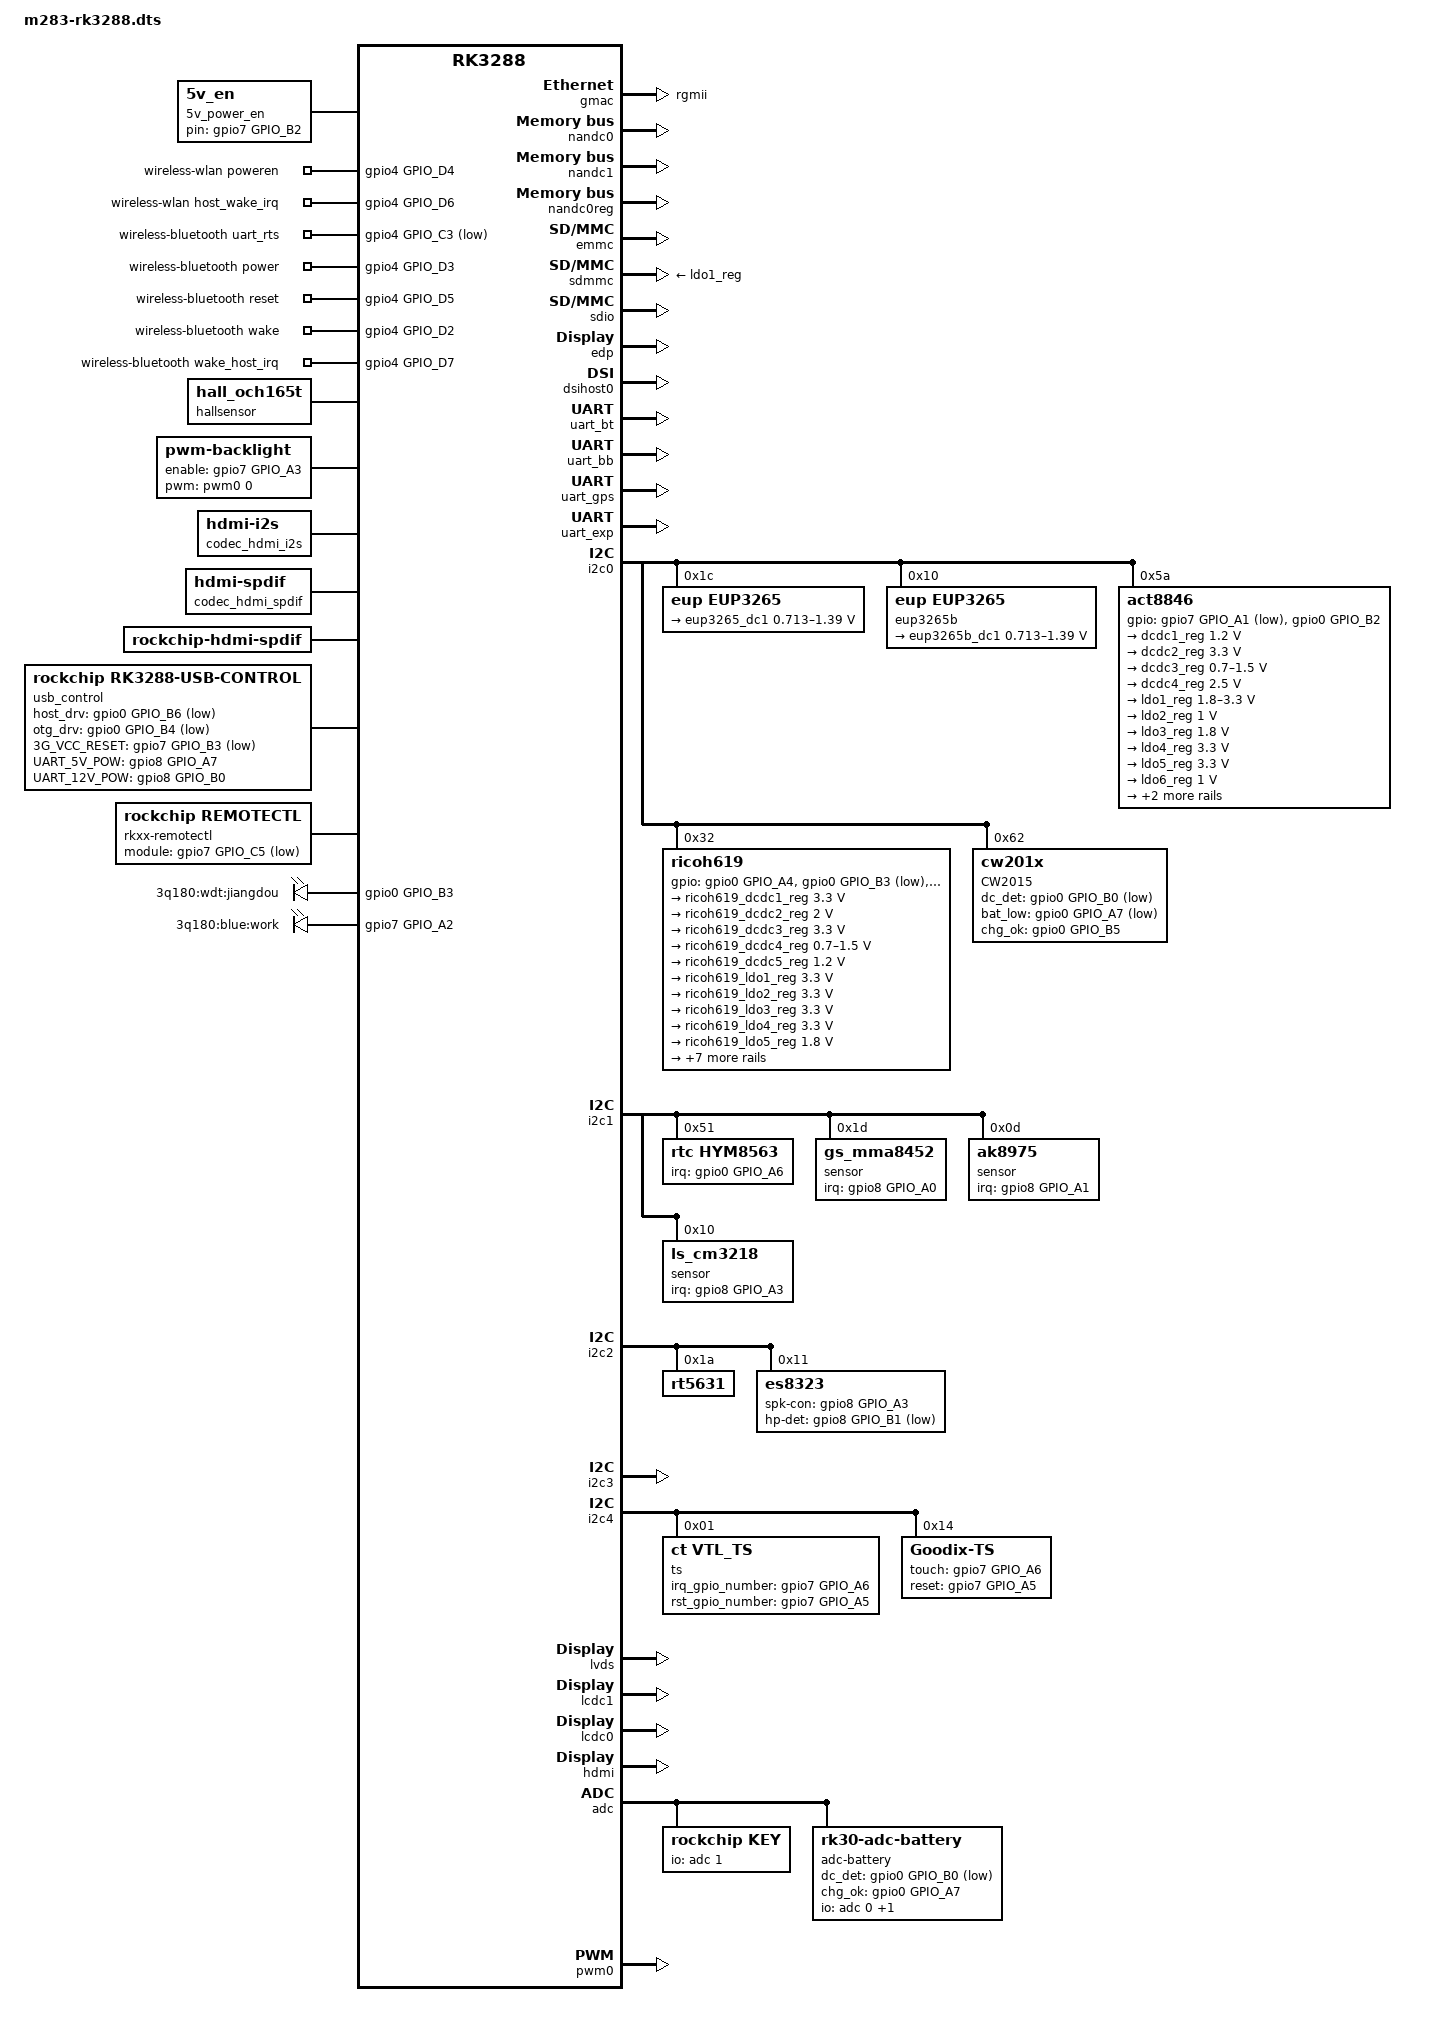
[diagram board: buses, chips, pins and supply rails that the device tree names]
/dts-v1/;

#include "rk3288.dtsi"
#include "lcd-M101WX24M_LVDS.dtsi"

/ {
	fiq-debugger {
		status = "okay";
	};

	5v_power_en {
        compatible = "5v_en";
		5ven,pin =<&gpio7 GPIO_B2 GPIO_ACTIVE_HIGH>;	// 5v power for otg and hdmi
		status = "okay";	
	};


    wireless-wlan {
        compatible = "wlan-platdata";

        /* wifi_chip_type - wifi chip define
         * bcmwifi ==> like ap6xxx, rk90x;
         * rtkwifi ==> like rtl8188xx, rtl8723xx;
         * esp8089 ==> esp8089;
         * other   ==> for other wifi;
         */
        wifi_chip_type = "bcmwifi";

        sdio_vref = <1800>; //1800mv or 3300mv

        //keep_wifi_power_on;

        //power_ctrl_by_pmu;
        power_pmu_regulator = "act_ldo3";
        power_pmu_enable_level = <1>; //1->HIGH, 0->LOW

        //vref_ctrl_enable;
        //vref_ctrl_gpio = <&gpio0 GPIO_A2 GPIO_ACTIVE_HIGH>;
        vref_pmu_regulator = "act_ldo3";
        vref_pmu_enable_level = <1>; //1->HIGH, 0->LOW

        WIFI,poweren_gpio = <&gpio4 GPIO_D4 GPIO_ACTIVE_HIGH>;
        WIFI,host_wake_irq = <&gpio4 GPIO_D6 GPIO_ACTIVE_HIGH>;
        //WIFI,reset_gpio = <&gpio0 GPIO_A2 GPIO_ACTIVE_LOW>;

        status = "okay";
    };

    wireless-bluetooth {
        compatible = "bluetooth-platdata";

        //wifi-bt-power-toggle;
        uart_rts_gpios = <&gpio4 GPIO_C3 GPIO_ACTIVE_LOW>;
        pinctrl-names = "default","rts_gpio";
        pinctrl-0 = <&uart0_rts>;
        pinctrl-1 = <&uart0_rts_gpio>;

        BT,power_gpio = <&gpio4 GPIO_D3 GPIO_ACTIVE_HIGH>;
        BT,reset_gpio = <&gpio4 GPIO_D5 GPIO_ACTIVE_HIGH>;
        BT,wake_gpio = <&gpio4 GPIO_D2 GPIO_ACTIVE_HIGH>;
        BT,wake_host_irq = <&gpio4 GPIO_D7 GPIO_ACTIVE_HIGH>;

        status = "okay";
    };

    hallsensor {
               compatible = "hall_och165t";
               type = <SENSOR_TYPE_HALL>;
               //irq-gpio = <&gpio0 GPIO_A6 IRQ_TYPE_EDGE_BOTH>;
     };

	backlight {
		compatible = "pwm-backlight";
		pwms = <&pwm0 0 25000>;
		brightness-levels = <255 254 253 252 251 250 249 248 247 246 245 244 243 242 241 240
		     239 238 237 236 235 234 233 232 231 230 229 228 227 226 225 224 223 222 221 220
		     219 218 217 216 215 214 213 212 211 210 209 208 207 206 205 204 203 202 201 200
		     199 198 197 196 195 194 193 192 191 190 189 188 187 186 185 184 183 182 181 180
		     179 178 177 176 175 174 173 172 171 170 169 168 167 166 165 164 163 162 161 160
		     159 158 157 156 155 154 153 152 151 150 149 148 147 146 145 144 143 142 141 140
		     139 138 137 136 135 134 133 132 131 130 129 128 127 126 125 124 123 122 121 120
		     119 118 117 116 115 114 113 112 111 110 109 108 107 106 105 104 103 102 101 100
		     99 98 97 96 95 94 93 92 91 90 89 88 87 86 85 84 83 82 81 80 79 78 77 76 75 74 73 72 71 70
		     69 68 67 66 65 64 63 62 61 60 59 58 57 56 55 54 53 52 51 50 49 48 47 46 45 44 43 42 41 40
		     39 38 37 36 35 34 33 32 31 30 29 28 27 26 25 24 23 22 21 20 19 18 17 16 15 14 13 12 11 10
		     9 8 7 6 5 4 3 2 1 0>;
		default-brightness-level = <100>;
		min-brightness-level = <90>;
		enable-gpios = <&gpio7 GPIO_A3 GPIO_ACTIVE_HIGH>;
		//enable-gpios = <&gpio1 GPIO_D2 GPIO_ACTIVE_HIGH>; //by jiangdou  for  PANELPOW LCD_VCC
	};

	pwm_regulator {
		compatible = "rockchip_pwm_regulator";
		status = "disabled";
		pwms = <&pwm1 0 25000>;
		rockchip,pwm_id= <1>;
		rockchip,pwm_voltage_map= <925000 950000 975000 1000000 1025000 1050000 1075000 1100000 1125000 1150000 1175000 1200000 1225000 1250000 1275000 1300000 1325000 1350000 1375000 1400000>;
		rockchip,pwm_voltage= <1000000>;
		rockchip,pwm_min_voltage= <925000>;
		rockchip,pwm_max_voltage= <1400000>;
		rockchip,pwm_suspend_voltage= <950000>;
		rockchip,pwm_coefficient= <475>;
		regulators {
			#address-cells = <1>;
			#size-cells = <0>;
			pwm_reg0: regulator@0 {
				regulator-compatible = "pwm_dcdc1";
				regulator-name= "vdd_logic";
				regulator-min-microvolt = <925000>;
				regulator-max-microvolt = <1400000>;
				regulator-always-on;
				regulator-boot-on;
			};
		};
	};

	codec_hdmi_i2s: codec-hdmi-i2s {
		compatible = "hdmi-i2s";
	};

	codec_hdmi_spdif: codec-hdmi-spdif {
		compatible = "hdmi-spdif";
	};

	rockchip-hdmi-i2s {
		compatible = "rockchip-hdmi-i2s";
		dais {
			dai0 {
				audio-codec = <&codec_hdmi_i2s>;
				audio-controller = <&i2s>;
				format = "i2s";
				//continuous-clock;
				//bitclock-inversion;
				//frame-inversion;
				//bitclock-master;
				//frame-master;
			};
		};
	};
	
	rockchip-hdmi-spdif {
		compatible = "rockchip-hdmi-spdif";
		dais {
			dai0 {
				audio-codec = <&codec_hdmi_spdif>;
				audio-controller = <&spdif>;
			};
		};		
	};

	rockchip-rt5631 {
		status = "disabled";
		compatible = "rockchip-rt5631";
		dais {
			dai0 {
				audio-codec = <&rt5631>;
				audio-controller = <&i2s>;
				format = "i2s";
				//continuous-clock;
				//bitclock-inversion;
				//frame-inversion;
				//bitclock-master;
				//frame-master;
			};
		};
	};
	rockchip-es8323 {
		compatible = "rockchip-es8323";
		dais {
			dai0 {
				audio-codec = <&es8323>;
				audio-controller = <&i2s>;
				format = "i2s";
				//continuous-clock;
				//bitclock-inversion;
				//frame-inversion;
				//bitclock-master;
				//frame-master;
			};
		};
	};

	usb_control {
		compatible = "rockchip,rk3288-usb-control";
		host_drv_gpio = <&gpio0 GPIO_B6 GPIO_ACTIVE_LOW>;
		otg_drv_gpio = <&gpio0 GPIO_B4 GPIO_ACTIVE_LOW>;
//ZUOMG 		3G_VCC_33_POWER = <&gpio8 GPIO_A3 GPIO_ACTIVE_HIGH>;//modify by jiangdou for 3G_POWER
		3G_VCC_RESET = <&gpio7 GPIO_B3 GPIO_ACTIVE_LOW>;//SDMMC_PWR
//		RS232_ICVCC_POWER = <&gpio0 GPIO_B5 GPIO_ACTIVE_HIGH>;//modify by jiangdou for RS232_ICVCC
		UART_5V_POW = <&gpio8 GPIO_A7 GPIO_ACTIVE_HIGH>;// UART_5V_POW
		UART_12V_POW = <&gpio8 GPIO_B0 GPIO_ACTIVE_HIGH>;//TP_5V_ON

		rockchip,remote_wakeup;
		rockchip,usb_irq_wakeup;
	};
	chosen {
                bootargs = "vmalloc=512M";
        };
	//add by jiangdou
	rkxx-remotectl{
		compatible = "rockchip,remotectl";
        //module-gpios = <&gpio7 GPIO_A0 GPIO_ACTIVE_LOW>;
		module-gpios = <&gpio7 GPIO_C5 GPIO_ACTIVE_LOW>;//modify for IR_INT  NO PWM  for GPIO!!!!
        //led-power = <&gpio8 GPIO_A1 GPIO_ACTIVE_LOW>;
	//ZUOMG	led-power = <&gpio8 GPIO_A1 GPIO_ACTIVE_LOW>;
		status = "okay";//nnd  this okay  by jiangdou!!!!!!!!!!!!!!!!
	};
	/*eint-gpio{
		compatible = "rk32_dou,io_eint"; 
		eint_gpio_1 = <&gpio7 GPIO_B6 GPIO_ACTIVE_LOW>;	//modify for I_INT   for GPIO!!!!238SPI1_DI
		eint_gpio_2 = <&gpio7 GPIO_B7 GPIO_ACTIVE_LOW>;//modify for I_INT   for GPIO!!!!239SPI1_DO
		user_gpio_1 = <&gpio7 GPIO_B5 GPIO_ACTIVE_LOW>;//modify for I_INT   for GPIO!!!!237SPI1_CSN
		user_gpio_2 = <&gpio7 GPIO_B4 GPIO_ACTIVE_LOW>;//modify for I_INT   for GPIO!!!!236SPI1_CLK
	
	};*/
	
	/*ledlight{//led light control
		compatible = "3qvideo,ledlight"; 
		label = "ledlight";
		ledgpio = <&gpio5 GPIO_B2 GPIO_ACTIVE_LOW>;	//modify for I_INT   for GPIO!!!!238SPI1_DI
	
	
	};*/
	
	leds {  //add for m180 leds  by jiangdou  20150812!!!
       compatible = "gpio-leds";
        rk3288wdt{
           label = "3q180:wdt:jiangdou";
           linux,default-trigger = "rk3288wdt";
           default-state = "off";
           gpios = <&gpio0 GPIO_B3 GPIO_ACTIVE_HIGH>; //add for RK3288_WDT
        }; 
		heartbeat{
           label = "3q180:blue:work";
           linux,default-trigger = "heartbeat";
           default-state = "off";
           gpios = <&gpio7 GPIO_A2 GPIO_ACTIVE_HIGH>;  //add for WORK_LED
       }; 
   }; 
};

&gmac {
//	power_ctl_by = "gpio";	//"gpio" "pmu"
//	power-gpio = <&gpio0 GPIO_B2 GPIO_ACTIVE_HIGH>;
//	power-pmu = "act_ldo"
//	reset-gpio = <&gpio4 GPIO_B0 GPIO_ACTIVE_LOW>;
	phy-mode = "rgmii";
	clock_in_out = "input";
	tx_delay = <0x30>;
	rx_delay = <0x10>;
	status = "okay";  //if want to use gmac, please set "okay"
};

&pinctrl {
	gpio0_gpio {
			gpio0_c2: gpio0-c2 {
				rockchip,pins = <GPIO0_C2>;
				rockchip,pull = <VALUE_PULL_DOWN>;
			};

			//to add
		};
		
	gpio7_gpio {
			gpio7_b7: gpio7-b7 {
				rockchip,pins = <GPIO7_B7>;
				rockchip,pull = <VALUE_PULL_UP>;
			};

			//to add
		};
	//could add other pinctrl definition such as gpio
	// gmac drive strength
	gpio4_gmac {
		mac_clk: mac-clk {
			rockchip,drive = <VALUE_DRV_12MA>;
		};

		mac_txpins: mac-txpins {
			rockchip,drive = <VALUE_DRV_12MA>;
		};

		mac_rxpins: mac-rxpins {
			rockchip,drive = <VALUE_DRV_12MA>;
		};

		mac_crs: mac-crs {
			rockchip,drive = <VALUE_DRV_12MA>;
		};

		mac_mdpins: mac-mdpins {
			rockchip,drive = <VALUE_DRV_12MA>;
		};
	};
};

&nandc0 {
	status = "okay"; // used nand set "disabled" ,used emmc set "okay"
};
&nandc1 {
	status = "okay"; // used nand set "disabled" ,used emmc set "okay"
};   

&nandc0reg {
	status = "okay"; // used nand set "disabled" ,used emmc set "okay"
};
&emmc {
	clock-frequency = <100000000>;
	clock-freq-min-max = <400000 100000000>;

        supports-highspeed;
	supports-emmc;
	//supports-sd;
        bootpart-no-access;
	
	supports-DDR_MODE; //you should set the two value in your project. only close in RK3288-SDK board.
	caps2-mmc-hs200;

        ignore-pm-notify;
	keep-power-in-suspend;
	
	//poll-hw-reset 
    	status = "okay";
};
    
&sdmmc {
	clock-frequency = <50000000>;
	clock-freq-min-max = <400000 50000000>;	            
	    
	supports-highspeed;
	supports-sd;
	broken-cd;
	card-detect-delay = <500>;

	ignore-pm-notify;
        keep-power-in-suspend;
	
        vmmc-supply = <&ldo1_reg>;
	status = "okay";
};
		
&sdio {
	clock-frequency = <50000000>;
        clock-freq-min-max = <200000 50000000>;
		
  	supports-highspeed;		
	supports-sdio;
		ignore-pm-notify;
		keep-power-in-suspend;
		//cap-sdio-irq;
		status = "okay";
};
&edp{
        status = "okay";
};

&dsihost0{
		status = "okay";
	};

&dsihost1{
		status = "disabled";
	};
	
&spi0 {
	status = "disabled";
	max-freq = <48000000>;	
	/*
	spi_test@00 {
     		compatible = "rockchip,spi_test_bus0_cs0";
                reg = <0>;
                spi-max-frequency = <24000000>;
                //spi-cpha;
		//spi-cpol;
                poll_mode = <0>;
	        type = <0>;
		enable_dma = <0>;

	};

	spi_test@01 {
	        compatible = "rockchip,spi_test_bus0_cs1";
	        reg = <1>;
	        spi-max-frequency = <24000000>;
	        spi-cpha;
		spi-cpol;
	        poll_mode = <0>;
	        type = <0>;
		enable_dma = <0>;	        
	};
	*/
};

&spi1 {
	status = "disabled";
	max-freq = <48000000>;
	/*
	spi_test@10 {
	        compatible = "rockchip,spi_test_bus1_cs0";
	        reg = <0>;
	        spi-max-frequency = <24000000>;
	        //spi-cpha;
		//spi-cpol;
	        poll_mode = <0>;
	        type = <0>;
		enable_dma = <0>;
	};

	*/
};

&spi2 {
	status = "disabled";
	max-freq = <48000000>;
	/*
	spi_test@20 {
	        compatible = "rockchip,spi_test_bus2_cs0";
	        reg = <0>;
	        spi-max-frequency = <24000000>;
	        //spi-cpha;
		//spi-cpol;
	        poll_mode = <0>;
	        type = <0>;
		enable_dma = <0>;
	};

	spi_test@21 {
	        compatible = "rockchip,spi_test_bus2_cs1";
	        reg = <1>;
	        spi-max-frequency = <24000000>;
	        //spi-cpha;
		//spi-cpol;
	        poll_mode = <0>;
	        type = <0>;
		enable_dma = <0>;
	};
	*/
};
&uart_bt {
        status = "okay";
        dma-names = "!tx", "!rx";
        pinctrl-0 = <&uart0_xfer &uart0_cts>;
};

&uart_bb { //UART1
        status = "okay";
        dma-names = "!tx", "!rx";
        pinctrl-0 = <&uart1_xfer &uart1_cts>;
};

&uart_gps { //UART3  for  MCU 
        status = "okay";
        dma-names = "!tx", "!rx";
        pinctrl-0 = <&uart3_xfer &uart3_cts>;
};

&uart_exp { //UART4
        status = "okay";
        dma-names = "!tx", "!rx";
        pinctrl-0 = <&uart4_xfer &uart4_cts>;
};

&i2c0 {
	status = "okay";
	rk808: rk808@1b {
		reg = <0x1b>;
		status = "disabled";
	};
		eup3265: eup3265@1c {
		compatible = "eup,eup3265";
  	reg = <0x1c>;
		status = "okay";
		regulators {
			#address-cells = <1>;
			#size-cells = <0>;	
            eup3265_dc1: regulator@0 {
			reg = <0>;
			regulator-compatible = "eup3265_dcdc1";
			regulator-name = "vdd_arm";
			regulator-min-microvolt = <712500>;
			regulator-max-microvolt = <1390000>;
			regulator-always-on;
			regulator-boot-on;
			regulator-initial-mode = <0x2>;
			regulator-initial-state = <3>;
			regulator-state-mem {
				regulator-state-mode = <0x2>;
				regulator-state-disabled;
				regulator-state-uv = <900000>;
			};
		};
	   };
	};
        eup3265b: eup3265b@10 {
		compatible = "eup,eup3265";
        reg = <0x10>;
		status = "okay";
		regulators {
			#address-cells = <1>;
			#size-cells = <0>;	
			eup3265b_dc1: regulator@0 {
			reg = <0>;
			regulator-compatible = "eup3265_dcdc1";
			regulator-name = "vdd_gpu";
			regulator-min-microvolt = <712500>;
			regulator-max-microvolt = <1390000>;
			regulator-always-on;
  		regulator-boot-on;
			regulator-initial-mode = <0x2>;
			regulator-initial-state = <3>;
			regulator-state-mem {
				regulator-state-mode = <0x2>;
				regulator-state-enabled;
				regulator-state-uv = <900000>;
			};	
		};
	   };
	};
	act8846: act8846@5a {
		reg = <0x5a>;
		status = "okay";
	};

	ricoh619: ricoh619@32 {
		reg = <0x32>;
 		status = "okay";
 	};
	


	CW2015@62 {
		compatible = "cw201x";
		reg = <0x62>;
		dc_det_gpio = <&gpio0 GPIO_B0 GPIO_ACTIVE_LOW>;
		bat_low_gpio = <&gpio0 GPIO_A7 GPIO_ACTIVE_LOW>;
		chg_ok_gpio = <&gpio0 GPIO_B5 GPIO_ACTIVE_HIGH>;
		bat_config_info = <0x15 0x7D 0x62 0x5F 0x5D 0x5B 0x56 0x53 0x54 0x58 
				0x54 0x4B 0x41 0x36 0x2A 0x1B 0x14 0x14 0x1E 0x36 
				0x45 0x58 0x6C 0x74 0x65 0x96 0x08 0xF6 0x31 0x51 
				0x5C 0x64 0x67 0x61 0x5D 0x63 0x47 0x14 0x5F 0x33 
				0x1B 0x41 0x52 0x87 0x8F 0x91 0x94 0x52 0x82 0x8C 
				0x92 0x96 0x7E 0x97 0xCC 0xCB 0x2F 0x7D 0x72 0xA5 
				0xB5 0xC1 0x56 0x89
>;
		is_dc_charge = <1>;
		is_usb_charge = <0>;
	};
	
//	rtc@51 {
//		compatible = "rtc,hym8563";
//		reg = <0x51>;
//		irq_gpio = <&gpio0 GPIO_A4 IRQ_TYPE_EDGE_FALLING>;
//	};

};

&i2c1 {
	status = "okay";
	rtc@51 {
		compatible = "rtc,hym8563";
		reg = <0x51>;
		irq_gpio = <&gpio0 GPIO_A6 IRQ_TYPE_EDGE_FALLING>;
	};
	
	sensor@1d {
		compatible = "gs_mma8452";
		reg = <0x1d>;
		type = <SENSOR_TYPE_ACCEL>;
		irq-gpio = <&gpio8 GPIO_A0 IRQ_TYPE_LEVEL_LOW>;
		irq_enable = <1>;
		poll_delay_ms = <30>;
		layout = <8>;
	};

	sensor@0d {
		compatible = "ak8975";
		reg = <0x0d>;
		type = <SENSOR_TYPE_COMPASS>;
		irq-gpio = <&gpio8 GPIO_A1 IRQ_TYPE_EDGE_RISING>;
		irq_enable = <1>;
		poll_delay_ms = <30>;
		layout = <1>;
	};

	sensor@10 {
              compatible = "ls_cm3218";
              reg = <0x10>;
              type = <SENSOR_TYPE_LIGHT>;
              irq-gpio = <&gpio8 GPIO_A3 IRQ_TYPE_EDGE_FALLING>;              
              irq_enable = <1>;
              poll_delay_ms = <30>;
              layout = <1>;
       };
/*	      
 	mpu6050:mpu@68{
	compatible = "mpu6050";
	reg = <0x68>;
	mpu-int_config = <0x10>;
	mpu-level_shifter = <0>;
	mpu-orientation = <1 0 0 0 1 0 0 0 1>;	
	orientation-x= <1>;
	orientation-y= <0>;
	orientation-z= <1>;
	irq-gpio = <&gpio8 GPIO_A0 IRQ_TYPE_LEVEL_LOW>;			
	mpu-debug = <0>;
	};

	ak8963:compass@0d{
	compatible = "ak8963";
	reg = <0x0d>;
	compass-bus = <0>;
	compass-adapt_num = <0>;
	compass-orientation = <1 0 0 0 1 0 0 0 1>;
	orientation-x= <0>;
	orientation-y= <0>;
	orientation-z= <1>;	
	compass-debug = <1>;
	status = "disabled";
	};

	ak8975:compass@0d{
	compatible = "ak8975";
	reg = <0x0d>;
	compass-bus = <0>;
	compass-adapt_num = <0>;
	compass-orientation = <0 1 0 1 0 0 0 0 1>;
	orientation-x= <0>;
	orientation-y= <0>;
	orientation-z= <0>;	
	compass-debug = <0>;
	};
*/
};

&i2c2 {
status = "okay";
	rt5631: rt5631@1a {
		compatible = "rt5631";
		reg = <0x1a>;
		phone_det_level = <1>;
	};
	es8323: es8323@10 {
		compatible = "es8323";
		reg = <0x11>;
		spk-con-gpio = <&gpio8 GPIO_A3 GPIO_ACTIVE_HIGH>;//sd //ZUOMG
		hp-det-gpio = <&gpio8 GPIO_B1 GPIO_ACTIVE_LOW>;//modify  HP-IN //ZUOMG 
		hp-mic-only = <0>;
		
	};
};

&i2c3 {
	status = "okay";
};

&i2c4 {
	status = "okay";
	ts@01 {
		compatible = "ct,vtl_ts";
		reg = <0x01>;
		screen_max_x = <2048>;
		screen_max_y = <1536>;
        xy_swap = <0>;
        x_reverse = <0>;
        y_reverse = <1>;
        x_mul = <1>;
        y_mul = <1>;
        bin_ver = <1>;
		irq_gpio_number = <&gpio7 GPIO_A6 IRQ_TYPE_LEVEL_LOW>;
		rst_gpio_number = <&gpio7 GPIO_A5 GPIO_ACTIVE_HIGH>;
	};
	Goodix-TS@14 {
                compatible = "Goodix-TS";
                reg = <0x14>;
				tp-size = <101>;
                max-x = <1920>;
                max-y = <1200>;
        xy_swap = <0>;
        x_reverse = <0>;
        y_reverse = <1>;
        x_mul = <1>;
        y_mul = <1>;
        bin_ver = <1>;
                touch-gpio = <&gpio7 GPIO_A6 IRQ_TYPE_LEVEL_LOW>;
                reset-gpio = <&gpio7 GPIO_A5 GPIO_ACTIVE_HIGH>;
        };

	
};

&i2c5 {
	status = "disable";
};

&fb {
	rockchip,disp-mode = <DUAL>;
	rockchip,uboot-logo-on = <0>;
};

&rk_screen {
	 display-timings = <&disp_timings>;
};
&lvds {
	status = "okay";
};

/*lcdc1 as PRMRY(LCD),lcdc0 as EXTEND(HDMI)*/
&lcdc1 {
	status = "okay";
	rockchip,mirror = <NO_MIRROR>;
	rockchip,cabc_mode = <0>;
	rockchip,iommu-enabled = <0>;
};

&lcdc0 {
	status = "okay";
	rockchip,mirror = <NO_MIRROR>;
	rockchip,iommu-enabled = <0>;
	power_ctr: power_ctr {
		rockchip,debug = <1>;

		lcd_en:lcd_en {
			rockchip,power_type = <GPIO>;
			gpios = <&gpio1 GPIO_D1 GPIO_ACTIVE_HIGH>;//LCD_EN
			rockchip,delay = <10>;
		};
	
		lcd_cs:lcd_cs {
			rockchip,power_type = <GPIO>;
			gpios = <&gpio1 GPIO_D0 GPIO_ACTIVE_HIGH>;  //BACKLIGHT
			rockchip,delay = <10>;
		};
		/*
		lcd_rst:lcd_rst {
			rockchip,power_type = <GPIO>;
			gpios = <&gpio7 GPIO_A4 GPIO_ACTIVE_LOW>;
			rockchip,delay = <50>;
		};*/
	
		

	};
};

&hdmi {
	status = "okay";
	rockchip,defaultmode = <4>;
	rockchip,hdmi_video_source = <DISPLAY_SOURCE_LCDC0>;
};

&adc {
	status = "okay";


	key {
		compatible = "rockchip,key";
		io-channels = <&adc 1>;

			power-key {
			gpios = <&gpio0 GPIO_A5 GPIO_ACTIVE_LOW>;//modify for hangzhou_rk3288_sleep 2016-01-05
			linux,code = <116>;
			label = "power";
			gpio-key,wakeup;
		};


		/*back-key {
			linux,code = <158>;
			label = "back";
			rockchip,adc_value = <10>;
		};*/
	/*	power-key {
			linux,code = <116>;
			label = "power";
			rockchip,adc_value = <10>;
		};*/
/*
		home-key {
			linux,code = <102>;
			label = "home";
			rockchip,adc_value = <746>;
		};

		back-key {
			linux,code = <158>;
			label = "back";
			rockchip,adc_value = <560>;
		};
*/
	
	};
	
	 adc-battery {
                compatible = "rk30-adc-battery";
                io-channels = <&adc 0>, <&adc 3>;
                dc_det_gpio = <&gpio0 GPIO_B0 GPIO_ACTIVE_LOW>;
                auto_calibration = <0>;
                ref_voltage = <3300>;
                //bat_low_gpio = <&gpio0 GPIO_A7 GPIO_ACTIVE_LOW>;
                chg_ok_gpio = <&gpio0 GPIO_A7 GPIO_ACTIVE_HIGH>;
                bat_table = <0 0 0 0 100 100
                 3500 3619 3678 3734 3742 3783 3813 3884 3968 4110 4220
                 3750 3710 3770 3830 3850 3880 3910 3980 4060 4240 4300
                >;
                is_dc_charge = <1>;
                is_usb_charge = <0>;

        };
};

&pwm0 {
        status = "okay";
};

&pwm1 {
	status = "disabled";
};


&clk_core_dvfs_table {
	operating-points = <
		/* KHz    uV */
		126000 900000
		216000 900000
		312000 900000
		408000 900000
		600000 900000
		696000 950000
		816000 1000000
		1008000 1050000
		1200000 1100000
		1416000 1200000
		1512000 1300000
		1608000 1350000
	//	1704000 1350000
	//	1800000 1400000
		>;
       /* support-pvtm = <1>;
        pvtm-operating-points = <
                126000 900000   25000
                216000 900000   25000
                312000 900000   25000
                408000 900000   25000
                600000 900000   25000
                696000 950000   25000
                816000 1000000  25000
                1008000 1050000 25000
                1200000 1100000 25000
                1416000 1200000 25000
                1512000 1300000 25000
                1608000 1350000 25000
                >;*/
	status="okay";
};

&clk_gpu_dvfs_table {
	operating-points = <
		/* KHz    uV */
		100000 900000
		200000 900000
		300000 950000
		420000 1050000
		500000 1150000
		>;
	status="okay";
};

&clk_ddr_dvfs_table {
	operating-points = <
		/* KHz    uV */
		200000 1050000
		300000 1050000
		400000 1100000
		533000 1150000
		>;

	freq-table = <
		/*status		freq(KHz)*/
		SYS_STATUS_NORMAL	400000
		SYS_STATUS_SUSPEND	200000
		SYS_STATUS_VIDEO_1080P  240000
		SYS_STATUS_VIDEO_4K     400000
		SYS_STATUS_PERFORMANCE  528000
		SYS_STATUS_DUALVIEW	400000
		SYS_STATUS_BOOST	324000
		SYS_STATUS_ISP		400000
		>;
	bd-freq-table = <
		/* bandwidth   freq */
		5000           800000
		3500           456000
		2600           396000
		2000           324000
	>;
	auto-freq-table = <
		240000
		324000
		396000
		528000
		>;
	auto-freq=<1>;
	status="okay";
};
/include/ "act8846.dtsi"
&act8846 {
	//gpios =<&gpio7 GPIO_A1 GPIO_ACTIVE_LOW>,<&gpio0 GPIO_B2 GPIO_ACTIVE_HIGH>;
	gpios =<&gpio7 GPIO_A1 GPIO_ACTIVE_LOW>,<&gpio0 GPIO_B2 GPIO_ACTIVE_HIGH>; 
	act8846,system-power-controller;

	regulators {
		
		dcdc1_reg: regulator@0{
			regulator-name= "act_dcdc1";
			regulator-min-microvolt = <1200000>;
			regulator-max-microvolt = <1200000>;
			regulator-always-on;
			regulator-boot-on;
		};

		dcdc2_reg: regulator@1 {
			regulator-name= "vccio";
			regulator-min-microvolt = <3300000>;
			regulator-max-microvolt = <3300000>;
			regulator-initial-state = <3>;
			regulator-state-mem {
				regulator-state-enabled;
				regulator-state-uv = <3300000>;
			};		
		};

		dcdc3_reg: regulator@2 {
			regulator-name= "vdd_logic";
			regulator-min-microvolt = <700000>;
			regulator-max-microvolt = <1500000>;
			regulator-initial-state = <3>;
			regulator-state-mem {
				regulator-state-enabled;
				regulator-state-uv = <1200000>;
			};		
		
		};

		dcdc4_reg: regulator@3 {
			regulator-name= "act_dcdc4";
			regulator-min-microvolt = <2500000>;
			regulator-max-microvolt = <2500000>;
				regulator-initial-state = <3>;
			regulator-state-mem {
				regulator-state-enabled;
				regulator-state-uv = <2500000>;
			};
		};

		ldo1_reg: regulator@4 {
			regulator-name= "vccio_sd";
			regulator-min-microvolt = <1800000>;
			regulator-max-microvolt = <3300000>;
			
		};

		ldo2_reg: regulator@5 {
			regulator-name= "act_ldo2";
			regulator-min-microvolt = <1000000>;
			regulator-max-microvolt = <1000000>;
		
		};

		ldo3_reg: regulator@6 {
			regulator-name= "act_ldo3";
			regulator-min-microvolt = <1800000>;//modify by jiangdou
			regulator-max-microvolt = <1800000>;
			
		};

		ldo4_reg:regulator@7 {
			regulator-name= "act_ldo4";
			regulator-min-microvolt = <3300000>;
			regulator-max-microvolt = <3300000>;
		
		};

		ldo5_reg: regulator@8 {
			regulator-name= "act_ldo5";
			regulator-min-microvolt = <3300000>;
			regulator-max-microvolt = <3300000>;
		
		};

		ldo6_reg: regulator@9 {
			regulator-name= "act_ldo6";
			regulator-min-microvolt = <1000000>;
			regulator-max-microvolt = <1000000>;
			regulator-initial-state = <3>;
			regulator-state-mem {
				regulator-state-enabled;
			};
			
		};

		ldo7_reg: regulator@10 {
			regulator-name= "vcc_18";
			regulator-min-microvolt = <1800000>;
			regulator-max-microvolt = <1800000>;
			regulator-initial-state = <3>;
			regulator-state-mem {
				regulator-state-enabled;
			};
		
		};

		ldo8_reg: regulator@11 {
			regulator-name= "act_ldo8";
			regulator-min-microvolt = <1800000>;
			regulator-max-microvolt = <1800000>;
		
		};
	};
};

/include/ "rk808.dtsi"
&rk808 {
	gpios =<&gpio0 GPIO_A4 GPIO_ACTIVE_HIGH>,<&gpio0 GPIO_A0 GPIO_ACTIVE_LOW>;
	rk808,system-power-controller;

	regulators {
		
		rk808_dcdc1_reg: regulator@0{
			regulator-name= "vdd_arm";
			regulator-min-microvolt = <700000>;
			regulator-max-microvolt = <1500000>;
			regulator-always-on;
			regulator-boot-on;
			regulator-initial-mode = <0x2>;
			regulator-initial-state = <3>;
			regulator-state-mem {
				regulator-state-mode = <0x2>;
				regulator-state-disabled;
				regulator-state-uv = <900000>;
			};
		};

		rk808_dcdc2_reg: regulator@1 {
			regulator-name= "vdd_gpu";
			regulator-min-microvolt = <700000>;
			regulator-max-microvolt = <1500000>;
			/*regulator-always-on;*/
			/*regulator-boot-on;*/
			regulator-initial-mode = <0x2>;
			regulator-initial-state = <3>;
			regulator-state-mem {
				regulator-state-mode = <0x2>;
				regulator-state-disabled;
				regulator-state-uv = <900000>;
			};
		};

		rk808_dcdc3_reg: regulator@2 {
			regulator-name= "rk_dcdc3";
			regulator-min-microvolt = <1200000>;
			regulator-max-microvolt = <1200000>;
			regulator-always-on;
			regulator-boot-on;
			regulator-initial-mode = <0x2>;
			regulator-initial-state = <3>;
			regulator-state-mem {
				regulator-state-mode = <0x2>;
				regulator-state-enabled;
				regulator-state-uv = <1200000>;
			};
		};

		rk808_dcdc4_reg: regulator@3 {
			regulator-name= "vccio";
			regulator-min-microvolt = <1800000>;
			regulator-max-microvolt = <3300000>;
			regulator-always-on;
			regulator-boot-on;
			regulator-initial-mode = <0x2>;
			regulator-initial-state = <3>;
			regulator-state-mem {
				regulator-state-mode = <0x2>;
				regulator-state-enabled;
				regulator-state-uv = <2800000>;
			};
		};

		rk808_ldo1_reg: regulator@4 {
			regulator-name= "rk_ldo1";
			regulator-min-microvolt = <3300000>;
			regulator-max-microvolt = <3300000>;
			regulator-always-on;
			regulator-boot-on;
			regulator-initial-state = <3>;
			regulator-state-mem {
				regulator-state-enabled;
				regulator-state-uv = <3300000>;
			};
		};

		rk808_ldo2_reg: regulator@5 {
			regulator-name= "rk_ldo2";
			regulator-min-microvolt = <3300000>;
			regulator-max-microvolt = <3300000>;
			regulator-always-on;
			regulator-boot-on;
			regulator-initial-state = <3>;
			regulator-state-mem {
				regulator-state-enabled;
				regulator-state-uv = <3300000>;
			};
		};

		rk808_ldo3_reg: regulator@6 {
			regulator-name= "rk_ldo3";
			regulator-min-microvolt = <1000000>;
			regulator-max-microvolt = <1000000>;
			regulator-always-on;
			regulator-boot-on;
			regulator-initial-state = <3>;
			regulator-state-mem {
				regulator-state-enabled;
				regulator-state-uv = <1000000>;
			};
		};

		rk808_ldo4_reg:regulator@7 {
			regulator-name= "rk_ldo4";
			regulator-min-microvolt = <1800000>;
			regulator-max-microvolt = <1800000>;
			regulator-always-on;
			regulator-boot-on;
			regulator-initial-state = <3>;
			regulator-state-mem {
				regulator-state-disabled;
				regulator-state-uv = <1800000>;
			};
		};

		rk808_ldo5_reg: regulator@8 {
			regulator-name= "vcc_sd";
			regulator-min-microvolt = <1800000>;
			regulator-max-microvolt = <3300000>;
			regulator-always-on;
			regulator-boot-on;
			regulator-initial-state = <3>;
			regulator-state-mem {
				regulator-state-enabled;
				regulator-state-uv = <2800000>;
			};
		};

		rk808_ldo6_reg: regulator@9 {
			regulator-name= "rk_ldo6";
			regulator-min-microvolt = <1000000>;
			regulator-max-microvolt = <1000000>;
			regulator-always-on;
			regulator-boot-on;
			regulator-initial-state = <3>;
			regulator-state-mem {
				regulator-state-disabled;
				regulator-state-uv = <1000000>;
			};
		};

		rk808_ldo7_reg: regulator@10 {
			regulator-name= "rk_ldo7";
			regulator-min-microvolt = <1800000>;
			regulator-max-microvolt = <1800000>;
			regulator-always-on;
			regulator-boot-on;
			regulator-initial-state = <3>;
			regulator-state-mem {
				regulator-state-enabled;
				regulator-state-uv = <1800000>;
			};
		};

		rk808_ldo8_reg: regulator@11 {
			regulator-name= "rk_ldo8";
			regulator-min-microvolt = <3300000>;
			regulator-max-microvolt = <3300000>;
			regulator-always-on;
			regulator-boot-on;
			regulator-initial-state = <3>;
			regulator-state-mem {
				regulator-state-enabled;
				regulator-state-uv = <3300000>;
			};
		};

		rk808_ldo9_reg: regulator@12 {
			regulator-name= "rk_ldo9";
			regulator-always-on;
			regulator-boot-on;
			regulator-initial-state = <3>;
			regulator-state-mem {
				regulator-state-enabled;
			};
		};

		rk808_ldo10_reg: regulator@13 {
			regulator-name= "rk_ldo10";
			regulator-always-on;
			regulator-boot-on;
			regulator-initial-state = <3>;
			regulator-state-mem {
				regulator-state-disabled;
			};
		};
	};
};

/include/ "ricoh619.dtsi"
&ricoh619 {
	gpios =<&gpio0 GPIO_A4 GPIO_ACTIVE_HIGH>,<&gpio0 GPIO_B3 GPIO_ACTIVE_LOW>,<&gpio0 GPIO_B0 GPIO_ACTIVE_HIGH>;
	ricoh619,system-power-controller;
	
	regulators {
		ricoh619_dcdc1_reg: regulator@0 {
			regulator-name = "vccio";
			regulator-min-microvolt = <3300000>;
			regulator-max-microvolt = <3300000>;
			regulator-initial-mode = <0x2>;
			regulator-initial-state = <3>;
			regulator-state-mem {
				regulator-state-mode = <0x2>;
				regulator-state-enabled;
				regulator-state-uv = <2800000>;
			};	
		};
		ricoh619_dcdc2_reg: regulator@1 {
			regulator-name = "ricoh619_dcdc2";
			regulator-min-microvolt = <2000000>;
			regulator-max-microvolt = <2000000>;
			regulator-initial-mode = <0x2>;
			regulator-initial-state = <3>;
			regulator-state-mem {
				regulator-state-mode = <0x2>;
				regulator-state-enabled;
				regulator-state-uv = <2000000>;
			};	
		};
		ricoh619_dcdc3_reg: regulator@2 {
			regulator-name = "vcc_lcd";
			regulator-min-microvolt = <3300000>;
			regulator-max-microvolt = <3300000>;
			regulator-initial-mode = <0x2>;
			regulator-initial-state = <3>;
			regulator-state-mem {
				regulator-state-mode = <0x2>;
				regulator-state-enabled;
				regulator-state-uv = <3300000>;
			};	
		};
		ricoh619_dcdc4_reg: regulator@3 {
			regulator-name = "vdd_logic";
			regulator-min-microvolt = <700000>;
			regulator-max-microvolt = <1500000>;
			regulator-initial-mode = <0x2>;
			regulator-initial-state = <3>;
			regulator-state-mem {
				regulator-state-mode = <0x2>;
				regulator-state-enabled;
				regulator-state-uv = <900000>;
			};	
		};
		ricoh619_dcdc5_reg: regulator@4 {
			regulator-name = "vcc_ddr";
			regulator-min-microvolt = <1200000>;
			regulator-max-microvolt = <1200000>;
			regulator-initial-mode = <0x2>;
			regulator-initial-state = <3>;
			regulator-state-mem {
				regulator-state-mode = <0x2>;
				regulator-state-enabled;
				regulator-state-uv = <1200000>;
			};	
		};
		ricoh619_ldo1_reg: regulator@5  {
			regulator-name = "vccio_pmu";
			regulator-min-microvolt = <3300000>;
			regulator-max-microvolt = <3300000>;
			regulator-initial-state = <3>;
			regulator-state-mem {
				regulator-state-enabled;
				regulator-state-uv = <3300000>;
			};	
		};
		ricoh619_ldo2_reg: regulator@6  {
			regulator-name = "ricoh619_ldo2";
			regulator-min-microvolt = <3300000>;
			regulator-max-microvolt = <3300000>;
			regulator-initial-state = <3>;
			regulator-state-mem {
				regulator-state-enabled;
				regulator-state-uv = <3300000>;
			};
		};
		ricoh619_ldo3_reg: regulator@7  {
			regulator-name = "ricoh619_ldo3";
			regulator-min-microvolt = <3300000>;
			regulator-max-microvolt = <3300000>;
			regulator-initial-state = <3>;
			regulator-state-mem {
				regulator-state-enabled;
				regulator-state-uv = <3300000>;
			};
		};
		ricoh619_ldo4_reg: regulator@8  {
			regulator-name = "vcc_sd";
			regulator-min-microvolt = <3300000>;
			regulator-max-microvolt = <3300000>;
			regulator-initial-state = <3>;
			regulator-state-mem {
				regulator-state-enabled;
				regulator-state-uv = <3300000>;
			};
		};
		ricoh619_ldo5_reg: regulator@9  {
			regulator-name = "vcc_wl";
			regulator-min-microvolt = <1800000>;
			regulator-max-microvolt = <1800000>;
			regulator-initial-state = <3>;
			regulator-state-mem {
				regulator-state-enabled;
				regulator-state-uv = <1800000>;
			};
		};
		ricoh619_ldo6_reg: regulator@10  {
			regulator-name = "ricoh619_ldo6";
			regulator-min-microvolt = <1800000>;
			regulator-max-microvolt = <1800000>;
			regulator-initial-state = <3>;
			regulator-state-mem {
				regulator-state-enabled;
				regulator-state-uv = <1800000>;
			};
		};
		ricoh619_ldo7_reg: regulator@11  {
			regulator-name = "ricoh619_ldo7";
			regulator-min-microvolt = <1000000>;
			regulator-max-microvolt = <1000000>;
			regulator-initial-state = <3>;
			regulator-state-mem {
				regulator-state-enabled;
				regulator-state-uv = <1000000>;
			};
		};
		ricoh619_ldo8_reg: regulator@12  {
			regulator-name = "ricoh619_ldo8";
			regulator-min-microvolt = <3300000>;
			regulator-max-microvolt = <3300000>;
			regulator-initial-state = <3>;
			regulator-state-mem {
				regulator-state-enabled;
				regulator-state-uv = <3300000>;
			};
		};
		ricoh619_ldo9_reg: regulator@13  {
			regulator-name = "ricoh619_ldo9";
			regulator-min-microvolt = <1000000>;
			regulator-max-microvolt = <1000000>;
			regulator-initial-state = <3>;
			regulator-state-mem {
				regulator-state-enabled;
				regulator-state-uv = <1000000>;
			};
		};
		ricoh619_ldo10_reg: regulator@14  {
			regulator-name = "vcc_18";
			regulator-min-microvolt = <1800000>;
			regulator-max-microvolt = <1800000>;
			regulator-initial-state = <3>;
			regulator-state-mem {
				regulator-state-enabled;
				regulator-state-uv = <1800000>;
			};
		};
		ricoh619_ldortc1_reg: regulator@15  {
			regulator-name = "ricoh619_ldortc1";
			regulator-min-microvolt = < 3300000>;
			regulator-max-microvolt = <3300000>;
		};
		ricoh619_ldortc2_reg: regulator@16  {
			regulator-name = "ricoh619_ldortc2";
			regulator-min-microvolt = < 3300000>;
			regulator-max-microvolt = <3300000>;
		};
	};
};
/*
/include/ "rk818.dtsi"
&rk818 {
	gpios =<&gpio0 GPIO_A4 GPIO_ACTIVE_HIGH>,<&gpio0 GPIO_B3 GPIO_ACTIVE_LOW>;
	rk818,system-power-controller;

	regulators {
		
		rk818_dcdc1_reg: regulator@0{
			regulator-name= "vdd_logic";
			regulator-min-microvolt = <700000>;
			regulator-max-microvolt = <1500000>;
			regulator-initial-mode = <0x2>;
			regulator-initial-state = <3>;
			regulator-state-mem {
				regulator-state-mode = <0x2>;
				regulator-state-enabled;
				regulator-state-uv = <900000>;
			};		
		};

		rk818_dcdc2_reg: regulator@1 {
			regulator-name= "rk818_dcdc2";
			regulator-min-microvolt = <1200000>;
			regulator-max-microvolt = <1200000>;	
			regulator-initial-mode = <0x2>;
			regulator-initial-state = <3>;
			regulator-state-mem {
				regulator-state-mode = <0x2>;
				regulator-state-enabled;
				regulator-state-uv = <1200000>;
			};	
		};

		rk818_dcdc3_reg: regulator@2 {
			regulator-name= "rk818_dcdc3";
			regulator-min-microvolt = <1200000>;
			regulator-max-microvolt = <1200000>;
				regulator-initial-mode = <0x2>;
			regulator-initial-state = <3>;
			regulator-state-mem {
				regulator-state-mode = <0x2>;
				regulator-state-enabled;
				regulator-state-uv = <1200000>;
			};	
		};

		rk818_dcdc4_reg: regulator@3 {
			regulator-name= "vccio";
			regulator-min-microvolt = <1800000>;
			regulator-max-microvolt = <3300000>;
			regulator-initial-mode = <0x2>;
			regulator-initial-state = <3>;
			regulator-state-mem {
				regulator-state-mode = <0x2>;
				regulator-state-enabled;
				regulator-state-uv = <2800000>;
			};	
		};

		rk818_ldo1_reg: regulator@4 {
			regulator-name= "rk818_ldo1";
			regulator-min-microvolt = <3300000>;
			regulator-max-microvolt = <3300000>;
			regulator-initial-state = <3>;
			regulator-state-mem {
				regulator-state-enabled;
				regulator-state-uv = <3300000>;
			};	
		};

		rk818_ldo2_reg: regulator@5 {
			regulator-name= "rk818_ldo2";
			regulator-min-microvolt = <3300000>;
			regulator-max-microvolt = <3300000>;
			regulator-initial-state = <3>;
			regulator-state-mem {
				regulator-state-enabled;
				regulator-state-uv = <3300000>;
			};	
		};

		rk818_ldo3_reg: regulator@6 {
			regulator-name= "rk818_ldo3";
			regulator-min-microvolt = <1000000>;
			regulator-max-microvolt = <1000000>;
			regulator-initial-state = <3>;
			regulator-state-mem {
				regulator-state-enabled;
				regulator-state-uv = <1000000>;
			};	
		};

		rk818_ldo4_reg:regulator@7 {
			regulator-name= "rk818_ldo4";
			regulator-min-microvolt = <1800000>;
			regulator-max-microvolt = <1800000>;
			regulator-initial-state = <3>;
			regulator-state-mem {
				regulator-state-disabled;
				regulator-state-uv = <1800000>;
			};
		};

		rk818_ldo5_reg: regulator@8 {
			regulator-name= "rk818_ldo5";
			regulator-min-microvolt = <3300000>;
			regulator-max-microvolt = <3300000>;
			regulator-initial-state = <3>;
			regulator-state-mem {
				regulator-state-enabled;
				regulator-state-uv = <3300000>;
			};
		};

		rk818_ldo6_reg: regulator@9 {
			regulator-name= "rk818_ldo6";
			regulator-min-microvolt = <1000000>;
			regulator-max-microvolt = <1000000>;
			regulator-initial-state = <3>;
			regulator-state-mem {
				regulator-state-disabled;
				regulator-state-uv = <1000000>;
			};	
		};

		rk818_ldo7_reg: regulator@10 {
			regulator-name= "rk818_ldo7";
			regulator-min-microvolt = <1800000>;
			regulator-max-microvolt = <1800000>;
			regulator-initial-state = <3>;
			regulator-state-mem {
				regulator-state-enabled;
				regulator-state-uv = <1800000>;
			};	
		};

		rk818_ldo8_reg: regulator@11 {
			regulator-name= "rk818_ldo8";
			regulator-min-microvolt = <1800000>;
			regulator-max-microvolt = <1800000>;
			regulator-initial-state = <3>;
			regulator-state-mem {
				regulator-state-enabled;
				regulator-state-uv = <1800000>;
			};	
		};
		rk818_ldo9_reg: regulator@12 {
			regulator-name= "vcc_sd";
			regulator-min-microvolt = <1800000>;
  		regulator-max-microvolt = <3300000>;
			regulator-initial-state = <3>;
			regulator-state-mem {
				regulator-state-enabled;
				regulator-state-uv = <3300000>;
			};
		};
		rk818_ldo10_reg: regulator@13 {
			regulator-name= "rk818_ldo10";
			regulator-state-mem {
				regulator-state-disabled;
			};
		};
	};
       battery {
		ocv_table = <3350 3677 3693 3719 3752 3770 3775 3778 3785 3796 3812 3839 3881 3907 3933 3958 3978 4033 4087 4123 4174>;
		design_capacity = <2100>;
		design_qmax = <2200>;
		max_overcharge = <100>;
		bat_res = <80>;
		max_input_currentmA  = <2000>;
		max_chrg_currentmA = <1800>;
		max_charge_voltagemV = <4200>;
		max_bat_voltagemV = <4200>;
		sleep_enter_current = <300>;
		sleep_exit_current = <300>;
		power_off_thresd = <3400>;
		chrg_diff_voltagemV = <0>;
		virtual_power = <1>;
		support_usb_adp = <0>;
		support_dc_adp = <1>;
		power_dc2otg = <0>;
		dc_det_gpio = <&gpio0 GPIO_B0 GPIO_ACTIVE_LOW>;
        };
};*/

&lcdc_vdd_domain {
	regulator-name = "vcc30_lcd";
	};
&dpio_vdd_domain{
	regulator-name = "vcc18_cif";	
	};
&flash0_vdd_domain{
	regulator-name = "vcc_flash";	
	};
&flash1_vdd_domain{
	regulator-name = "vcc_flash";			
	};
&apio3_vdd_domain{
	regulator-name = "vccio_wl";		
	};
&apio5_vdd_domain{
	regulator-name = "vccio";		
	};
&apio4_vdd_domain{
	regulator-name = "vccio";		
	};
&apio1_vdd_domain{
	regulator-name = "vccio";			
	};
&apio2_vdd_domain{
	regulator-name = "vccio";		
	};
&sdmmc0_vdd_domain{
	regulator-name = "vcc_sd";			
	};
